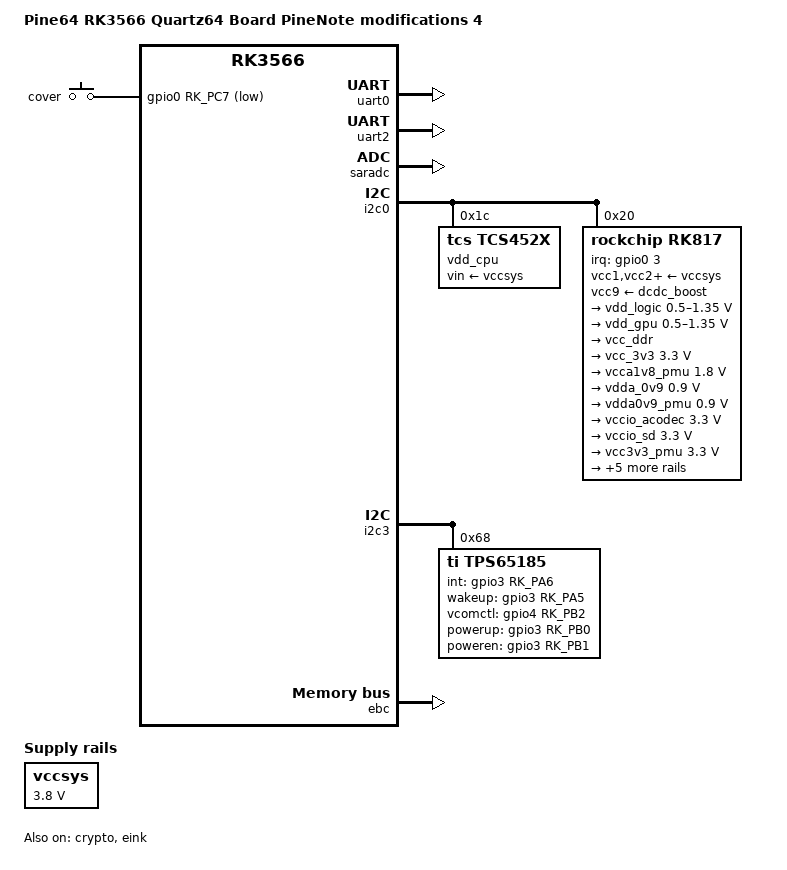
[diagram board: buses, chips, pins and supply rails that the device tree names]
/*
 * SPDX-License-Identifier:     GPL-2.0+
 *
 * (C) Copyright 2020 Rockchip Electronics Co., Ltd
 */

/dts-v1/;
#include "rk3568.dtsi"
#include <dt-bindings/input/input.h>

/ {
	model = "Pine64 RK3566 Quartz64 Board PineNote modifications 4";
	compatible = "rockchip,rk3566-quartz64", "rockchip,rk3566";

	charge-animation {
		compatible = "rockchip,uboot-charge";
		rockchip,uboot-charge-on = <1>;
		rockchip,android-charge-on = <0>;
		rockchip,uboot-low-power-voltage = <3350>;
		rockchip,screen-on-voltage = <3400>;
		status = "okay";
		u-boot,dm-pre-reloc;
	};

    reserved-memory {
        #address-cells = <2>;
        #size-cells = <2>;
        ranges;
		u-boot,dm-pre-reloc;

        waveform_reserved: waveform@0x10000000 {
			u-boot,dm-pre-reloc;
            // reg = <0x0 0x10000000 0x0 0x100000>;
			reg = <0x00000000 0x10800000 0x00000000 0x00100000>;
        };

        display_reserved: framebuffer@0x10100000 {
			u-boot,dm-pre-reloc;
            // reg = <0x0 0x10100000 0x0 0x2000000>;
			reg = <0x00000000 0x10900000 0x00000000 0x02000000>;
        };
    };

	adc_keys: adc-keys {
		status = "disabled";
		compatible = "adc-keys";
		io-channels = <&saradc 0>;
		io-channel-names = "buttons";
		keyup-threshold-microvolt = <1800000>;
		poll-interval = <100>;

		vol_up_key: vol-up-key {
			label = "volume up";
			linux,code = <KEY_VOLUMEUP>;
			press-threshold-microvolt = <1750>;
		};
	};

	gpio_keys: gpio-keys {
	    compatible = "gpio-keys";
	    pinctrl-0 = <&hall_int_l>;
	    pinctrl-names = "default";

	    cover: cover {
	        label = "cover";
	        gpios = <&gpio0 RK_PC7 GPIO_ACTIVE_LOW>;
	        /* linux,input-type = <EV_SW>; */
	        linux,code = <KEY_VOLUMEDOWN>;
	        /* linux,can-disable; */
	        /* wakeup-event-action = <EV_ACT_DEASSERTED>; */
	        /* wakeup-source; */
	    };
	};

    ebc_dev: ebc-dev {
        compatible = "rockchip,ebc-dev";
        ebc_tcon = <&ebc>;
        eink_tcon = <&eink>;
        memory-region = <&display_reserved>;
        waveform-region = <&waveform_reserved>;
        status = "okay";
		u-boot,dm-pre-reloc;
    };

     vccsys: vccsys {
		u-boot,dm-pre-reloc;
         compatible = "regulator-fixed";
         regulator-name = "vcc3v8_sys";
         regulator-always-on;
         regulator-boot-on;
         regulator-min-microvolt = <3800000>;
         regulator-max-microvolt = <3800000>;
     };
};

&crypto {
	status = "okay";
};

&uart0 {
	status = "okay";
};

&uart2 {
	status = "okay";
};

&saradc {
	u-boot,dm-spl;
	status = "okay";
};

&cpu0 {
    cpu-supply = <&vdd_cpu>;
	u-boot,dm-pre-reloc;
};

&cpu1 {
    cpu-supply = <&vdd_cpu>;
};

&i2c0 {
	status = "okay";
	u-boot,dm-pre-reloc;

	vdd_cpu: tcs4525@1c {
		u-boot,dm-pre-reloc;
	    compatible = "tcs,tcs452x";
	    reg = <0x1c>;
	    vin-supply = <&vccsys>;
	    regulator-compatible = "fan53555-reg";
	    regulator-name = "vdd_cpu";
	    regulator-min-microvolt = <712500>;
	    regulator-max-microvolt = <1390000>;
		regulator-init-microvolt = <0xdbba0>;
	    regulator-ramp-delay = <2300>;
	    fcs,suspend-voltage-selector = <0>;
	    regulator-boot-on;
	    regulator-always-on;
	    regulator-initial-mode = <2>;
	    regulator-state-mem {
			u-boot,dm-pre-reloc;
	        regulator-on-in-suspend;
	        regulator-suspend-microvolt = <1100000>;
	        regulator-changeable-in-suspend;
	    };
	};

	rk817: pmic@20 {
		u-boot,dm-pre-reloc;
	    compatible = "rockchip,rk817";
	    reg = <0x20>;
	    interrupt-parent = <&gpio0>;
	    interrupts = <3 IRQ_TYPE_LEVEL_LOW>;
	    pinctrl-names = "default";
	    pinctrl-0 = <&pmic_int>;
	    rockchip,system-power-controller;
	    wakeup-source;
	    #clock-cells = <1>;
	    clock-output-names = "rk808-clkout1", "rk808-clkout2";
	    /* 1: rst regs (default in codes), 0: rst the pmic */
	    pmic-reset-func = <0>;
	    /* not save the PMIC_POWER_EN register in uboot */
	    not-save-power-en = <1>;
	    vcc1-supply = <&vccsys>;
	    vcc2-supply = <&vccsys>;
	    vcc3-supply = <&vccsys>;
	    vcc4-supply = <&vccsys>;
	    vcc5-supply = <&vccsys>;
	    vcc6-supply = <&vccsys>;
	    vcc7-supply = <&vccsys>;
	    vcc8-supply = <&vccsys>;
	    vcc9-supply = <&dcdc_boost>;

	    pwrkey {
		u-boot,dm-pre-reloc;
	        status = "okay";
	    };

		pinctrl_rk8xx: pinctrl_rk8xx {
			u-boot,dm-pre-reloc;
			gpio-controller;
			#gpio-cells = <2>;

			rk817_slppin_null: rk817_slppin_null {
				u-boot,dm-pre-reloc;
			    pins = "gpio_slp";
			    function = "pin_fun0";
			};

			rk817_slppin_slp: rk817_slppin_slp {
		u-boot,dm-pre-reloc;
			    pins = "gpio_slp";
			    function = "pin_fun1";
			};

			rk817_slppin_pwrdn: rk817_slppin_pwrdn {
		u-boot,dm-pre-reloc;
			    pins = "gpio_slp";
			    function = "pin_fun2";
			};

			rk817_slppin_rst: rk817_slppin_rst {
		u-boot,dm-pre-reloc;
			    pins = "gpio_slp";
			    function = "pin_fun3";
			};
		};

		regulators {
			u-boot,dm-pre-reloc;
			vdd_logic: DCDC_REG1 {
				u-boot,dm-pre-reloc;
			    regulator-always-on;
			    regulator-boot-on;
			    regulator-min-microvolt = <500000>;
			    regulator-max-microvolt = <1350000>;
			    regulator-init-microvolt = <900000>;
			    regulator-ramp-delay = <6001>;
			    regulator-initial-mode = <2>;
			    regulator-name = "vdd_logic";
			    regulator-state-mem {
			        regulator-off-in-suspend;
			        regulator-suspend-microvolt = <900000>;
			        regulator-changeable-in-suspend;
			    };
			};

			vdd_gpu: DCDC_REG2 {
				u-boot,dm-pre-reloc;
			    regulator-always-on;
			    regulator-boot-on;
			    regulator-min-microvolt = <500000>;
			    regulator-max-microvolt = <1350000>;
			    regulator-init-microvolt = <900000>;
			    regulator-ramp-delay = <6001>;
			    regulator-initial-mode = <2>;
			    regulator-name = "vdd_gpu";
			        regulator-state-mem {
			        regulator-off-in-suspend;
			        regulator-changeable-in-suspend;
			    };
			};

			vcc_ddr: DCDC_REG3 {
				u-boot,dm-pre-reloc;
			    regulator-always-on;
			    regulator-boot-on;
			    regulator-initial-mode = <2>;
			    regulator-name = "vcc_ddr";
			    regulator-state-mem {
			        regulator-on-in-suspend;
			    };
			};
			vcc_3v3: DCDC_REG4 {
				u-boot,dm-pre-reloc;
			    regulator-always-on;
			    regulator-boot-on;
			    regulator-min-microvolt = <3300000>;
			    regulator-max-microvolt = <3300000>;
			    regulator-init-microvolt = <3300000>;
			    regulator-initial-mode = <2>;
			    regulator-name = "vcc_3v3";
			    regulator-state-mem {
			        regulator-off-in-suspend;
			        regulator-changeable-in-suspend;
			    };
			};

			vcca1v8_pmu: LDO_REG1 {
		u-boot,dm-pre-reloc;
			    regulator-always-on;
			    regulator-boot-on;
			    regulator-min-microvolt = <1800000>;
			    regulator-max-microvolt = <1800000>;
			    regulator-init-microvolt = <1800000>;
			    regulator-name = "vcca1v8_pmu";
			    regulator-state-mem {
			        regulator-on-in-suspend;
			        regulator-suspend-microvolt = <1800000>;
			        regulator-changeable-in-suspend;
			    };
			};

			vdda_0v9: LDO_REG2 {
		u-boot,dm-pre-reloc;
			    regulator-always-on;
			    regulator-boot-on;
			    regulator-min-microvolt = <900000>;
			    regulator-max-microvolt = <900000>;
			    regulator-name = "vdda_0v9";
			    regulator-state-mem {
			        regulator-off-in-suspend;
			        regulator-changeable-in-suspend;
			    };
			};

			vdda0v9_pmu: LDO_REG3 {
		u-boot,dm-pre-reloc;
			    regulator-always-on;
			    regulator-boot-on;
			    regulator-min-microvolt = <900000>;
			    regulator-max-microvolt = <900000>;
			    regulator-name = "vdda0v9_pmu";
			    regulator-state-mem {
			        regulator-on-in-suspend;
			        regulator-suspend-microvolt = <900000>;
			        regulator-changeable-in-suspend;
			    };
			};

			vccio_acodec: LDO_REG4 {
				u-boot,dm-pre-reloc;
			    regulator-always-on;
			    regulator-boot-on;
			    regulator-min-microvolt = <3300000>;
			    regulator-max-microvolt = <3300000>;
			    regulator-init-microvolt = <3300000>;
			    regulator-name = "vccio_acodec";
			    regulator-state-mem {
			        regulator-off-in-suspend;
			        regulator-changeable-in-suspend;
			    };
			};

			vccio_sd: LDO_REG5 {
				u-boot,dm-pre-reloc;
			    regulator-min-microvolt = <3300000>;//was 1.8v
			    regulator-max-microvolt = <3300000>;
			    regulator-name = "vccio_sd";
			    regulator-state-mem {
			        regulator-off-in-suspend;
			        regulator-changeable-in-suspend;
			    };
			};

			vcc3v3_pmu: LDO_REG6 {
		u-boot,dm-pre-reloc;
			    regulator-always-on;
			    regulator-boot-on;
			    regulator-min-microvolt = <3300000>;
			    regulator-max-microvolt = <3300000>;
			    regulator-name = "vcc3v3_pmu";
			    regulator-state-mem {
			        regulator-on-in-suspend;
			        regulator-suspend-microvolt = <3000000>;
			        regulator-changeable-in-suspend;
			    };
			};

			vcc_1v8: LDO_REG7 {
				u-boot,dm-pre-reloc;
			    regulator-always-on;
			    regulator-boot-on;
			    regulator-min-microvolt = <1800000>;
			    regulator-max-microvolt = <1800000>;
			    regulator-init-microvolt = <1800000>;
			    regulator-name = "vcc_1v8";
			    regulator-state-mem {
			        regulator-off-in-suspend;
			        regulator-changeable-in-suspend;
			    };
			};

			vcc1v8_dvp: LDO_REG8 {
				u-boot,dm-pre-reloc;
			    regulator-min-microvolt = <1800000>;
			    regulator-max-microvolt = <1800000>;
			    regulator-name = "vcc1v8_dvp";
			    regulator-state-mem {
			        regulator-off-in-suspend;
			        regulator-changeable-in-suspend;
			    };
			};

			sleep_sta_ctl: LDO_REG9 {
				u-boot,dm-pre-reloc;
			    regulator-name = "sleep_sta_ctl";
			    regulator-state-mem {
			        regulator-on-in-suspend;
			        regulator-suspend-microvolt = <3300000>;
			        regulator-changeable-in-suspend;
			    };
			};

			dcdc_boost: BOOST {
				u-boot,dm-pre-reloc;
			    regulator-always-on;
			    regulator-boot-on;
			    regulator-min-microvolt = <4700000>;
			    regulator-max-microvolt = <5400000>;
			    regulator-name = "boost";
			    regulator-state-mem {
			        regulator-off-in-suspend;
			        regulator-changeable-in-suspend;
			    };
			};

			otg_switch: OTG_SWITCH {
				u-boot,dm-pre-reloc;
			    regulator-name = "otg_switch";
			    regulator-state-mem {
			        regulator-off-in-suspend;
			        regulator-changeable-in-suspend;
			    };
			};
		};

		battery {
			u-boot,dm-pre-reloc;
		    compatible = "rk817,battery";
		    ocv_table = <3500
		        3670
		        3680
		        3710 3732 3750 3763 3770 3777 3789 3804
		         3826 3866 3897 3924 3954 3985 4023 4066 4109 4168>;
		    design_capacity = <4000>;
		    design_qmax = <4400>;
		    bat_res = <96>;
		    sleep_enter_current = <150>;
		    sleep_exit_current = <180>;
		    sleep_filter_current = <100>;
		    power_off_thresd = <3450>;
		    zero_algorithm_vol = <3850>;
		    max_soc_offset = <60>;
		    monitor_sec = <5>;
		    sample_res = <10>;
		    virtual_power = <0>;
		    low_power_sleep = <1>;
		};

		charger {
			u-boot,dm-pre-reloc;
		    compatible = "rk817,charger";
		    min_input_voltage = <4500>;
		    max_input_current = <1500>;
		    max_chrg_current = <2000>;
		    max_chrg_voltage = <4170>;
		    chrg_term_mode = <0>;
		    chrg_finish_cur = <300>;
		    virtual_power = <0>;
		    dc_det_adc = <0>;
		    extcon = <&usb2phy0>;
		    gate_function_disable = <1>;
		};

		/* rk817_codec: codec { */
	        /* #sound-dai-cells = <0>; */
	        /* compatible = "rockchip,rk817-codec"; */
	        /* clocks = <&cru I2S1_MCLKOUT_TX>; */
	        /* clock-names = "mclk"; */
	        /* assigned-clocks = <&cru I2S1_MCLKOUT_TX>; */
	        /* assigned-clock-parents = <&cru CLK_I2S1_8CH_TX>; */
	        /* pinctrl-names = "default"; */
	        /* pinctrl-0 = <&i2s1m0_mclk>; */
	        /* hp-volume = <20>; */
	        /* spk-volume = <3>; */
	        /* out-l2spk-r2hp; */
	        /* spk-ctl-gpios = <&gpio3 RK_PC4 GPIO_ACTIVE_HIGH>; */
	        /* status = "okay"; */
	    /* }; */
	};

};

&i2c3 {
	u-boot,dm-pre-reloc;
	status = "okay";
	pinctrl-names = "default";
	pinctrl-0 = <&i2c3m1_xfer>;
	clock-names = "i2c", "pclk";
	/* clock-frequency = <400000>; */
/* 	/1* i2c-scl-falling-time-ns = <50>; *1/ */
/* 	/1* i2c-scl-rising-time-ns = <100>; *1/ */

	tps65185: tps65185@68 {
		status = "okay";
		u-boot,dm-pre-reloc;
		compatible = "ti,tps65185";
		reg = <0x68>;
		pinctrl-names = "default";
		pinctrl-0 = <&tps65185_gpio>;
		/* interrupt-parent = <&gpio3>; */
		/* interrupts = <RK_PA6 IRQ_TYPE_LEVEL_LOW>; */
		/* int-gpios = <&gpio3 RK_PA6 GPIO_ACTIVE_HIGH>; */
		int-gpios = <&gpio3 RK_PA6 GPIO_ACTIVE_HIGH>;
		wakeup-gpios = <&gpio3 RK_PA5 GPIO_ACTIVE_HIGH>;
		vcomctl-gpios = <&gpio4 RK_PB2 GPIO_ACTIVE_HIGH>;
		powerup-gpios = <&gpio3 RK_PB0 GPIO_ACTIVE_HIGH>;
		poweren-gpios = <&gpio3 RK_PB1 GPIO_ACTIVE_HIGH>;
	};
};

&pinctrl {
	u-boot,dm-pre-reloc;
    hall {
        hall_int_l: hall-int-l {
            rockchip,pins = <0 RK_PC7 RK_FUNC_GPIO &pcfg_pull_none>;
        };
    };

    tps65185 {
        tps65185_gpio: tps65185-gpio {
			u-boot,dm-pre-reloc;
			rockchip,pins = /* wakeup */
					<3 RK_PA5 RK_FUNC_GPIO &pcfg_pull_none>,
					/* int */
					<3 RK_PA6 RK_FUNC_GPIO &pcfg_pull_up>,
					/* <3 RK_PA6 RK_FUNC_GPIO &pcfg_pull_none>, */
					/* pwr_good */
					<3 RK_PA7 RK_FUNC_GPIO &pcfg_pull_none>,
					/* pwrup */
					<3 RK_PB0 RK_FUNC_GPIO &pcfg_pull_none>,
					/* vcom_ctrl */
					<4 RK_PB2 RK_FUNC_GPIO &pcfg_pull_none>,
					/* pwr_en */
					<3 RK_PB1 RK_FUNC_GPIO &pcfg_pull_none>;
        };
    };
	pmic {
		pmic_int: pmic_int {
			u-boot,dm-pre-reloc;
			rockchip,pins =
				<RK_GPIO0 RK_PA3 RK_FUNC_GPIO &pcfg_pull_up>;
		};

		soc_slppin_gpio: soc_slppin_gpio {
			u-boot,dm-pre-reloc;
			rockchip,pins =
				<RK_GPIO0 RK_PA2 RK_FUNC_GPIO &pcfg_output_low>;
		};

		soc_slppin_slp: soc_slppin_slp {
			u-boot,dm-pre-reloc;
			rockchip,pins =
				<RK_GPIO0 RK_PA2 RK_FUNC_1 &pcfg_pull_none>;
		};

		soc_slppin_rst: soc_slppin_rst {
			u-boot,dm-pre-reloc;
			rockchip,pins =
				<RK_GPIO0 RK_PA2 RK_FUNC_2 &pcfg_pull_none>;
		};
	};
};

&eink {
    status = "okay";
	u-boot,dm-pre-reloc;
};

&ebc {
    /* clock rate 1000M/n, (n=1~32) */
    assigned-clocks = <&cru CPLL_333M>, <&cru DCLK_EBC>;
    //assigned-clock-rates = <340000000>, <340000000>;
    assigned-clock-rates = <250000000>, <250000000>;
    //assigned-clock-rates = <100000000>, <100000000>;
    status = "okay";
	u-boot,dm-pre-reloc;
};

&ebc_dev {
    pmic = <&tps65185>;
    status = "okay";
	u-boot,dm-pre-reloc;
	panel,width = <0x00000750>;
	panel,height = <0x0000057c>;
	panel,vir_width = <0x00000750>;
	panel,vir_height = <0x0000057c>;
	panel,sdck = <0x01fc1e20>;
	panel,lsl = <0x0000000b>;
	panel,lbl = <0x00000008>;
	panel,ldl = <0x000000ea>;
	panel,lel = <0x00000010>;
	panel,gdck-sta = <0x0000000a>;
	panel,lgonl = <0x000000d7>;
	panel,fsl = <0x00000001>;
	panel,fbl = <0x00000004>;
	panel,fdl = <0x0000057c>;
	panel,fel = <0x0000000c>;
	panel,mirror = <0x00000001>;
	panel,panel_16bit = <0x00000001>;
	panel,panel_color = <0x00000000>;
	panel,width-mm = <0x0000009d>;
	panel,height-mm = <0x000000d2>;
};

&i2c3m1_xfer{
	u-boot,dm-pre-reloc;
};
#include "rk3566-pinenote-v1.2-u-boot.dtsi"
